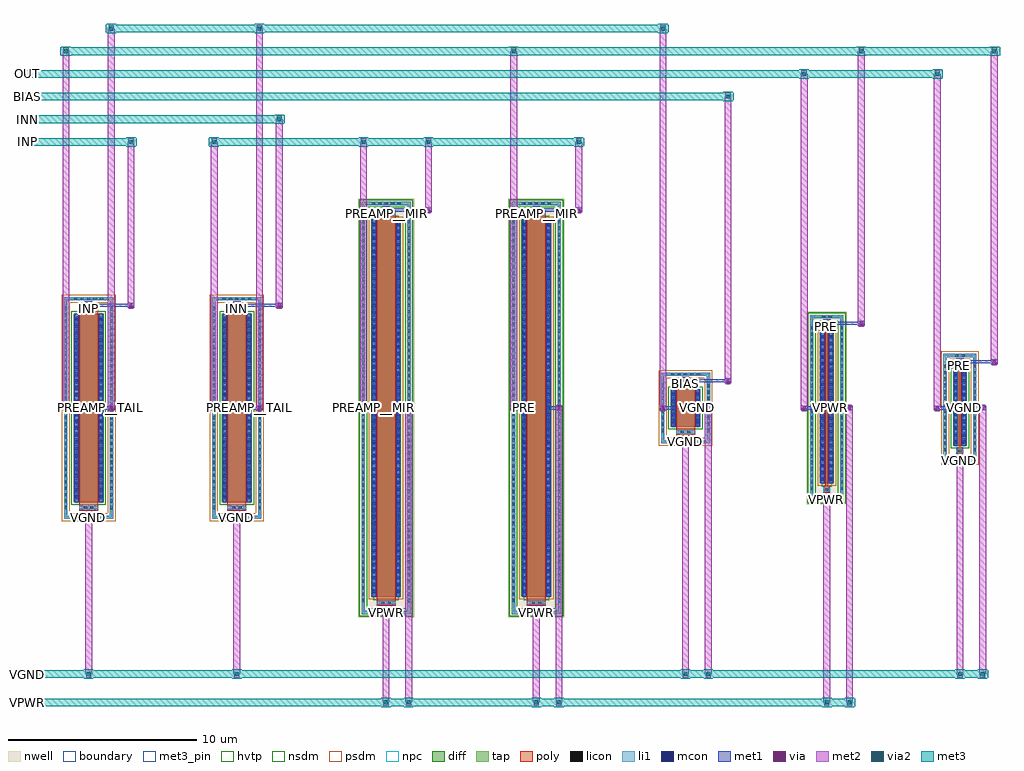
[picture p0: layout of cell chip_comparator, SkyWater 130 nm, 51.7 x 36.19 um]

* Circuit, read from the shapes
.subckt chip_comparator BIAS INN INP OUT PRE PREAMP__MIR PREAMP__TAIL VGND VPWR
XM1 PREAMP__TAIL INP PRE VGND sky130_fd_pr__nfet_01v8 w=10 l=1
XM2 PREAMP__TAIL INN PREAMP__MIR VGND sky130_fd_pr__nfet_01v8 w=10 l=1
XM3 VGND BIAS PREAMP__TAIL VGND sky130_fd_pr__nfet_01v8 w=2 l=1
XM4 VGND PRE OUT VGND sky130_fd_pr__nfet_01v8 w=4 l=0.15
XM5 VPWR PREAMP__MIR PREAMP__MIR VPWR sky130_fd_pr__pfet_01v8_hvt w=20 l=1
XM6 VPWR PREAMP__MIR PRE VPWR sky130_fd_pr__pfet_01v8_hvt w=20 l=1
XM7 VPWR PRE OUT VPWR sky130_fd_pr__pfet_01v8_hvt w=8 l=0.15
.ends

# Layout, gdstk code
import gdstk
lib = gdstk.Library(unit=1e-6, precision=1e-09)
def R(c, l, rs):  # rectangles x0, y0, x1, y1
    for r in rs: c.add(gdstk.rectangle(r[:2], r[2:], *l))
def A(c, l, x, y, w, h, nx, ny, dx, dy):  # array of equal rectangles
    R(c, l, [(x+i*dx, y+j*dy, x+i*dx+w, y+j*dy+h) for i in range(nx) for j in range(ny)])
nwell = (64, 20)
diff = (65, 20)
tap = (65, 44)
poly = (66, 20)
licon = (66, 44)
li1 = (67, 20)
mcon = (67, 44)
met1 = (68, 20)
via = (68, 44)
met2 = (69, 20)
via2 = (69, 44)
met3_pin = (70, 16)
met3 = (70, 20)
hvtp = (78, 44)
nsdm = (93, 44)
psdm = (94, 20)
npc = (95, 20)
boundary = (235, 4)

chip_comparator = lib.new_cell('chip_comparator')
R(chip_comparator, nwell, [(15.7,-11.095,18.66,11.095), (23.66,-11.095,26.62,11.095), (39.47,-5.095,41.58,5.095)])
R(chip_comparator, diff, [(16.39,-10,17.97,10), (24.35,-10,25.93,10), (0.635,-5,2.215,5), (8.485,-5,10.065,5), (40.16,-4,40.89,4), (47.215,-2,47.945,2), (32.255,-1,33.835,1)])
R(chip_comparator, tap, [(15.88,-10.915,18.48,-10.745), (23.84,-10.915,26.44,-10.745), (15.88,-10.745,16.05,10.745), (18.31,-10.745,18.48,10.745), (23.84,-10.745,24.01,10.745), (26.27,-10.745,26.44,10.745), (0.125,-5.87,2.725,-5.7), (7.975,-5.87,10.575,-5.7), (0.125,-5.7,0.295,5.7), (2.555,-5.7,2.725,5.7), (7.975,-5.7,8.145,5.7), (10.405,-5.7,10.575,5.7), (39.65,-4.915,41.4,-4.745), (39.65,-4.745,39.82,4.745), (41.23,-4.745,41.4,4.745), (46.705,-2.87,48.455,-2.7), (46.705,-2.7,46.875,2.7), (48.285,-2.7,48.455,2.7), (31.745,-1.87,34.345,-1.7), (31.745,-1.7,31.915,1.7), (34.175,-1.7,34.345,1.7), (31.745,1.7,34.345,1.87), (46.705,2.7,48.455,2.87), (39.65,4.745,41.4,4.915), (0.125,5.7,2.725,5.87), (7.975,5.7,10.575,5.87), (15.88,10.745,18.48,10.915), (23.84,10.745,26.44,10.915)])
R(chip_comparator, poly, [(16.68,-10.485,17.68,10.485), (24.64,-10.485,25.64,10.485), (0.925,-5.44,1.925,5.44), (8.775,-5.44,9.775,5.44), (40.36,-4.485,40.69,-4.155), (40.45,-4.155,40.6,4.155), (47.415,-2.44,47.745,-2.11), (47.505,-2.11,47.655,2.11), (32.545,-1.44,33.545,1.44), (47.415,2.11,47.745,2.44), (40.36,4.155,40.69,4.485)])
A(chip_comparator, licon, 16.415, -10.915, 0.17, 0.17, 5, 2, 0.34, 21.66)
A(chip_comparator, licon, 24.375, -10.915, 0.17, 0.17, 5, 2, 0.34, 21.66)
A(chip_comparator, licon, 15.88, -10.285, 0.17, 0.17, 1, 61, 0, 0.34)
A(chip_comparator, licon, 18.31, -10.285, 0.17, 0.17, 1, 61, 0, 0.34)
A(chip_comparator, licon, 23.84, -10.285, 0.17, 0.17, 1, 61, 0, 0.34)
A(chip_comparator, licon, 26.27, -10.285, 0.17, 0.17, 1, 61, 0, 0.34)
A(chip_comparator, licon, 16.45, -9.775, 0.17, 0.17, 1, 58, 0, 0.34)
A(chip_comparator, licon, 17.74, -9.775, 0.17, 0.17, 1, 58, 0, 0.34)
A(chip_comparator, licon, 24.41, -9.775, 0.17, 0.17, 1, 58, 0, 0.34)
A(chip_comparator, licon, 25.7, -9.775, 0.17, 0.17, 1, 58, 0, 0.34)
A(chip_comparator, licon, 0.66, -5.87, 0.17, 0.17, 5, 2, 0.34, 11.57)
A(chip_comparator, licon, 8.51, -5.87, 0.17, 0.17, 5, 2, 0.34, 11.57)
A(chip_comparator, licon, 0.125, -5.355, 0.17, 0.17, 1, 32, 0, 0.34)
A(chip_comparator, licon, 2.555, -5.355, 0.17, 0.17, 1, 32, 0, 0.34)
A(chip_comparator, licon, 7.975, -5.355, 0.17, 0.17, 1, 32, 0, 0.34)
A(chip_comparator, licon, 10.405, -5.355, 0.17, 0.17, 1, 32, 0, 0.34)
A(chip_comparator, licon, 0.695, -4.845, 0.17, 0.17, 1, 29, 0, 0.34)
A(chip_comparator, licon, 1.985, -4.845, 0.17, 0.17, 1, 29, 0, 0.34)
A(chip_comparator, licon, 8.545, -4.845, 0.17, 0.17, 1, 29, 0, 0.34)
A(chip_comparator, licon, 9.835, -4.845, 0.17, 0.17, 1, 29, 0, 0.34)
A(chip_comparator, licon, 39.65, -4.335, 0.17, 0.17, 1, 26, 0, 0.34)
A(chip_comparator, licon, 41.23, -4.335, 0.17, 0.17, 1, 26, 0, 0.34)
A(chip_comparator, licon, 40.22, -3.825, 0.17, 0.17, 1, 23, 0, 0.34)
A(chip_comparator, licon, 40.66, -3.825, 0.17, 0.17, 1, 23, 0, 0.34)
A(chip_comparator, licon, 46.705, -2.295, 0.17, 0.17, 1, 14, 0, 0.34)
A(chip_comparator, licon, 48.285, -2.295, 0.17, 0.17, 1, 14, 0, 0.34)
A(chip_comparator, licon, 32.28, -1.87, 0.17, 0.17, 5, 2, 0.34, 3.57)
A(chip_comparator, licon, 47.275, -1.785, 0.17, 0.17, 1, 11, 0, 0.34)
A(chip_comparator, licon, 47.715, -1.785, 0.17, 0.17, 1, 11, 0, 0.34)
A(chip_comparator, licon, 31.745, -1.275, 0.17, 0.17, 1, 8, 0, 0.34)
A(chip_comparator, licon, 34.175, -1.275, 0.17, 0.17, 1, 8, 0, 0.34)
A(chip_comparator, licon, 32.315, -0.935, 0.17, 0.17, 1, 6, 0, 0.34)
A(chip_comparator, licon, 33.605, -0.935, 0.17, 0.17, 1, 6, 0, 0.34)
R(chip_comparator, licon, [(16.925,-10.405,17.095,-10.235), (17.265,-10.405,17.435,-10.235), (24.885,-10.405,25.055,-10.235), (25.225,-10.405,25.395,-10.235), (1.17,-5.36,1.34,-5.19), (1.51,-5.36,1.68,-5.19), (9.02,-5.36,9.19,-5.19), (9.36,-5.36,9.53,-5.19), (40.27,-4.915,40.44,-4.745), (40.61,-4.915,40.78,-4.745), (40.44,-4.405,40.61,-4.235), (47.325,-2.87,47.495,-2.7), (47.665,-2.87,47.835,-2.7), (47.495,-2.36,47.665,-2.19), (32.79,-1.36,32.96,-1.19), (33.13,-1.36,33.3,-1.19), (32.79,1.19,32.96,1.36), (33.13,1.19,33.3,1.36), (47.495,2.19,47.665,2.36), (47.325,2.7,47.495,2.87), (47.665,2.7,47.835,2.87), (40.44,4.235,40.61,4.405), (40.27,4.745,40.44,4.915), (40.61,4.745,40.78,4.915), (1.17,5.19,1.34,5.36), (1.51,5.19,1.68,5.36), (9.02,5.19,9.19,5.36), (9.36,5.19,9.53,5.36), (16.925,10.235,17.095,10.405), (17.265,10.235,17.435,10.405), (24.885,10.235,25.055,10.405), (25.225,10.235,25.395,10.405)])
R(chip_comparator, li1, [(15.88,-10.915,18.48,-10.745), (23.84,-10.915,26.44,-10.745), (15.88,-10.745,16.05,10.745), (18.31,-10.745,18.48,10.745), (23.84,-10.745,24.01,10.745), (26.27,-10.745,26.44,10.745), (16.68,-10.405,17.68,-10.235), (24.64,-10.405,25.64,-10.235), (16.45,-10.02,16.62,10.02), (17.74,-10.02,17.91,10.02), (24.41,-10.02,24.58,10.02), (25.7,-10.02,25.87,10.02), (0.125,-5.87,2.725,-5.7), (7.975,-5.87,10.575,-5.7), (0.125,-5.7,0.295,5.7), (2.555,-5.7,2.725,5.7), (7.975,-5.7,8.145,5.7), (10.405,-5.7,10.575,5.7), (0.925,-5.36,1.925,-5.19), (8.775,-5.36,9.775,-5.19), (0.695,-5.02,0.865,5.02), (1.985,-5.02,2.155,5.02), (8.545,-5.02,8.715,5.02), (9.835,-5.02,10.005,5.02), (39.65,-4.915,41.4,-4.745), (39.65,-4.745,39.82,4.745), (41.23,-4.745,41.4,4.745), (40.36,-4.405,40.69,-4.235), (40.22,-4.02,40.39,4.02), (40.66,-4.02,40.83,4.02), (46.705,-2.87,48.455,-2.7), (46.705,-2.7,46.875,2.7), (48.285,-2.7,48.455,2.7), (47.415,-2.36,47.745,-2.19), (47.275,-2.02,47.445,2.02), (47.715,-2.02,47.885,2.02), (31.745,-1.87,34.345,-1.7), (31.745,-1.7,31.915,1.7), (34.175,-1.7,34.345,1.7), (32.545,-1.36,33.545,-1.19), (32.315,-1.02,32.485,1.02), (33.605,-1.02,33.775,1.02), (32.545,1.19,33.545,1.36), (32.96,1.19,33.13,1.53), (31.745,1.7,34.345,1.87), (47.415,2.19,47.745,2.36), (47.495,2.19,47.665,2.53), (46.705,2.7,48.455,2.87), (40.36,4.235,40.69,4.405), (40.44,4.235,40.61,4.575), (39.65,4.745,41.4,4.915), (0.925,5.19,1.925,5.36), (1.34,5.19,1.51,5.53), (8.775,5.19,9.775,5.36), (9.19,5.19,9.36,5.53), (0.125,5.7,2.725,5.87), (7.975,5.7,10.575,5.87), (16.68,10.235,17.68,10.405), (17.095,10.235,17.265,10.575), (24.64,10.235,25.64,10.405), (25.055,10.235,25.225,10.575), (15.88,10.745,18.48,10.915), (23.84,10.745,26.44,10.915)])
A(chip_comparator, mcon, 16.45, -9.805, 0.17, 0.17, 1, 55, 0, 0.36)
A(chip_comparator, mcon, 17.74, -9.805, 0.17, 0.17, 1, 55, 0, 0.36)
A(chip_comparator, mcon, 24.41, -9.805, 0.17, 0.17, 1, 55, 0, 0.36)
A(chip_comparator, mcon, 25.7, -9.805, 0.17, 0.17, 1, 55, 0, 0.36)
A(chip_comparator, mcon, 0.695, -4.765, 0.17, 0.17, 1, 27, 0, 0.36)
A(chip_comparator, mcon, 1.985, -4.765, 0.17, 0.17, 1, 27, 0, 0.36)
A(chip_comparator, mcon, 8.545, -4.765, 0.17, 0.17, 1, 27, 0, 0.36)
A(chip_comparator, mcon, 9.835, -4.765, 0.17, 0.17, 1, 27, 0, 0.36)
A(chip_comparator, mcon, 40.22, -3.865, 0.17, 0.17, 1, 22, 0, 0.36)
A(chip_comparator, mcon, 40.66, -3.865, 0.17, 0.17, 1, 22, 0, 0.36)
A(chip_comparator, mcon, 47.275, -1.885, 0.17, 0.17, 1, 11, 0, 0.36)
A(chip_comparator, mcon, 47.715, -1.885, 0.17, 0.17, 1, 11, 0, 0.36)
A(chip_comparator, mcon, 32.315, -0.805, 0.17, 0.17, 1, 5, 0, 0.36)
A(chip_comparator, mcon, 33.605, -0.805, 0.17, 0.17, 1, 5, 0, 0.36)
R(chip_comparator, mcon, [(17.095,-10.915,17.265,-10.745), (25.055,-10.915,25.225,-10.745), (1.34,-5.87,1.51,-5.7), (9.19,-5.87,9.36,-5.7), (40.44,-4.915,40.61,-4.745), (47.495,-2.87,47.665,-2.7), (32.96,-1.87,33.13,-1.7), (32.96,1.36,33.13,1.53), (47.495,2.36,47.665,2.53), (40.44,4.405,40.61,4.575), (1.34,5.36,1.51,5.53), (9.19,5.36,9.36,5.53), (17.095,10.405,17.265,10.575), (25.055,10.405,25.225,10.575)])
R(chip_comparator, met1, [(16.98,-11.03,17.38,-10.63), (24.94,-11.03,25.34,-10.63), (17,-10.96,17.36,-10.7), (24.96,-10.96,25.32,-10.7), (16.42,-10,16.65,10), (17.71,-10,17.94,10), (24.38,-10,24.61,10), (25.67,-10,25.9,10), (1.225,-5.985,1.625,-5.585), (9.075,-5.985,9.475,-5.585), (1.245,-5.915,1.605,-5.655), (9.095,-5.915,9.455,-5.655), (40.325,-5.03,40.725,-4.63), (0.665,-5,0.895,5), (1.955,-5,2.185,5), (8.515,-5,8.745,5), (9.805,-5,10.035,5), (40.345,-4.96,40.705,-4.7), (40.19,-4,40.42,4), (40.63,-4,40.86,4), (47.38,-2.985,47.78,-2.585), (47.4,-2.915,47.76,-2.655), (47.245,-2,47.475,2), (47.685,-2,47.915,2), (32.845,-1.985,33.245,-1.585), (32.865,-1.915,33.225,-1.655), (32.285,-1,32.515,1), (33.575,-1,33.805,1), (0.045,-0.13,0.405,0.13), (2.445,-0.13,2.805,0.13), (7.895,-0.13,8.255,0.13), (10.295,-0.13,10.655,0.13), (15.8,-0.13,16.16,0.13), (18.2,-0.13,18.56,0.13), (23.76,-0.13,24.12,0.13), (26.16,-0.13,26.52,0.13), (31.665,-0.13,32.025,0.13), (34.065,-0.13,34.425,0.13), (39.145,-0.13,39.505,0.13), (41.545,-0.13,41.905,0.13), (46.2,-0.13,46.56,0.13), (48.6,-0.13,48.96,0.13), (32.845,1.245,33.245,1.645), (35.11,1.315,35.47,1.575), (47.38,2.245,47.78,2.645), (49.22,2.315,49.58,2.575), (40.325,4.29,40.725,4.69), (42.165,4.36,42.525,4.62), (1.225,5.245,1.625,5.645), (9.075,5.245,9.475,5.645), (3.49,5.315,3.85,5.575), (11.34,5.315,11.7,5.575), (16.98,10.29,17.38,10.69), (24.94,10.29,25.34,10.69), (19.245,10.36,19.605,10.62), (27.205,10.36,27.565,10.62)])
R(chip_comparator, via, [(17.105,-10.905,17.255,-10.755), (25.065,-10.905,25.215,-10.755), (1.35,-5.86,1.5,-5.71), (9.2,-5.86,9.35,-5.71), (40.45,-4.905,40.6,-4.755), (47.505,-2.86,47.655,-2.71), (32.97,-1.86,33.12,-1.71), (0.15,-0.075,0.3,0.075), (2.55,-0.075,2.7,0.075), (8,-0.075,8.15,0.075), (10.4,-0.075,10.55,0.075), (15.905,-0.075,16.055,0.075), (18.305,-0.075,18.455,0.075), (23.865,-0.075,24.015,0.075), (26.265,-0.075,26.415,0.075), (31.77,-0.075,31.92,0.075), (34.17,-0.075,34.32,0.075), (39.25,-0.075,39.4,0.075), (41.65,-0.075,41.8,0.075), (46.305,-0.075,46.455,0.075), (48.705,-0.075,48.855,0.075), (35.215,1.37,35.365,1.52), (49.325,2.37,49.475,2.52), (42.27,4.415,42.42,4.565), (3.595,5.37,3.745,5.52), (11.445,5.37,11.595,5.52), (19.35,10.415,19.5,10.565), (27.31,10.415,27.46,10.565)])
R(chip_comparator, met2, [(17.04,-15.785,17.32,-15.405), (18.24,-15.785,18.52,-15.405), (25,-15.785,25.28,-15.405), (26.2,-15.785,26.48,-15.405), (40.385,-15.785,40.665,-15.405), (41.585,-15.785,41.865,-15.405), (1.285,-14.285,1.565,-13.905), (9.135,-14.285,9.415,-13.905), (32.905,-14.285,33.185,-13.905), (34.105,-14.285,34.385,-13.905), (47.44,-14.285,47.72,-13.905), (48.64,-14.285,48.92,-13.905), (17.05,-11.01,17.31,-10.65), (25.01,-11.01,25.27,-10.65), (1.295,-5.965,1.555,-5.605), (9.145,-5.965,9.405,-5.605), (40.395,-5.01,40.655,-4.65), (47.45,-2.965,47.71,-2.605), (32.915,-1.965,33.175,-1.605), (0.095,-0.18,0.355,0.18), (2.495,-0.18,2.755,0.18), (7.945,-0.18,8.205,0.18), (10.345,-0.18,10.605,0.18), (15.85,-0.18,16.11,0.18), (18.25,-0.18,18.51,0.18), (23.81,-0.18,24.07,0.18), (26.21,-0.18,26.47,0.18), (31.715,-0.18,31.975,0.18), (34.115,-0.18,34.375,0.18), (39.195,-0.18,39.455,0.18), (41.595,-0.18,41.855,0.18), (46.25,-0.18,46.51,0.18), (48.65,-0.18,48.91,0.18), (35.16,1.265,35.42,1.625), (49.27,2.265,49.53,2.625), (42.215,4.31,42.475,4.67), (3.54,5.265,3.8,5.625), (11.39,5.265,11.65,5.625), (19.295,10.31,19.555,10.67), (27.255,10.31,27.515,10.67), (3.53,13.905,3.81,14.285), (7.935,13.905,8.215,14.285), (15.84,13.905,16.12,14.285), (19.285,13.905,19.565,14.285), (27.245,13.905,27.525,14.285), (11.38,15.105,11.66,15.485), (35.15,16.305,35.43,16.685), (39.185,17.505,39.465,17.885), (46.24,17.505,46.52,17.885), (0.085,18.705,0.365,19.085), (23.8,18.705,24.08,19.085), (42.205,18.705,42.485,19.085), (49.26,18.705,49.54,19.085), (2.485,19.905,2.765,20.285), (10.335,19.905,10.615,20.285), (31.705,19.905,31.985,20.285)])
R(chip_comparator, via2, [(17.08,-15.695,17.28,-15.495), (18.28,-15.695,18.48,-15.495), (25.04,-15.695,25.24,-15.495), (26.24,-15.695,26.44,-15.495), (40.425,-15.695,40.625,-15.495), (41.625,-15.695,41.825,-15.495), (1.325,-14.195,1.525,-13.995), (9.175,-14.195,9.375,-13.995), (32.945,-14.195,33.145,-13.995), (34.145,-14.195,34.345,-13.995), (47.48,-14.195,47.68,-13.995), (48.68,-14.195,48.88,-13.995), (3.57,13.995,3.77,14.195), (7.975,13.995,8.175,14.195), (15.88,13.995,16.08,14.195), (19.325,13.995,19.525,14.195), (27.285,13.995,27.485,14.195), (11.42,15.195,11.62,15.395), (35.19,16.395,35.39,16.595), (39.225,17.595,39.425,17.795), (46.28,17.595,46.48,17.795), (0.125,18.795,0.325,18.995), (23.84,18.795,24.04,18.995), (42.245,18.795,42.445,18.995), (49.3,18.795,49.5,18.995), (2.525,19.995,2.725,20.195), (10.375,19.995,10.575,20.195), (31.745,19.995,31.945,20.195)])
A(chip_comparator, met3_pin, -2, 13.895, 0.4, 0.4, 1, 4, 0, 1.2)
R(chip_comparator, met3_pin, [(-2,-15.795,-1.6,-15.395), (-2,-14.295,-1.6,-13.895)])
R(chip_comparator, met3, [(16.93,-15.845,17.43,-15.345), (18.13,-15.845,18.63,-15.345), (24.89,-15.845,25.39,-15.345), (26.09,-15.845,26.59,-15.345), (40.275,-15.845,40.775,-15.345), (41.475,-15.845,41.975,-15.345), (1.175,-14.345,1.675,-13.845), (9.025,-14.345,9.525,-13.845), (32.795,-14.345,33.295,-13.845), (33.995,-14.345,34.495,-13.845), (47.33,-14.345,47.83,-13.845), (48.53,-14.345,49.03,-13.845), (3.42,13.845,3.92,14.345), (7.825,13.845,8.325,14.345), (15.73,13.845,16.23,14.345), (19.175,13.845,19.675,14.345), (27.135,13.845,27.635,14.345), (11.27,15.045,11.77,15.545), (35.04,16.245,35.54,16.745), (39.075,17.445,39.575,17.945), (46.13,17.445,46.63,17.945), (-0.025,18.645,0.475,19.145), (23.69,18.645,24.19,19.145), (42.095,18.645,42.595,19.145), (49.15,18.645,49.65,19.145), (2.375,19.845,2.875,20.345), (10.225,19.845,10.725,20.345), (31.595,19.845,32.095,20.345)])
R(chip_comparator, hvtp, [(16.5,-10.18,17.86,10.18), (24.46,-10.18,25.82,10.18), (40.27,-4.18,40.78,4.18)])
R(chip_comparator, nsdm, [(15.755,-11.04,18.605,-10.62), (23.715,-11.04,26.565,-10.62), (15.755,-10.62,16.175,10.62), (18.185,-10.62,18.605,10.62), (23.715,-10.62,24.135,10.62), (26.145,-10.62,26.565,10.62), (0.51,-5.125,2.34,5.125), (8.36,-5.125,10.19,5.125), (39.525,-5.04,41.525,-4.62), (39.525,-4.62,39.945,4.62), (41.105,-4.62,41.525,4.62), (47.09,-2.125,48.07,2.125), (32.13,-1.125,33.96,1.125), (39.525,4.62,41.525,5.04), (15.755,10.62,18.605,11.04), (23.715,10.62,26.565,11.04)])
R(chip_comparator, psdm, [(16.265,-10.125,18.095,10.125), (24.225,-10.125,26.055,10.125), (0,-5.995,2.85,-5.575), (7.85,-5.995,10.7,-5.575), (0,-5.575,0.42,5.575), (2.43,-5.575,2.85,5.575), (7.85,-5.575,8.27,5.575), (10.28,-5.575,10.7,5.575), (40.035,-4.125,41.015,4.125), (46.58,-2.995,48.58,-2.575), (46.58,-2.575,47,2.575), (48.16,-2.575,48.58,2.575), (31.62,-1.995,34.47,-1.575), (31.62,-1.575,32.04,1.575), (34.05,-1.575,34.47,1.575), (31.62,1.575,34.47,1.995), (46.58,2.575,48.58,2.995), (0,5.575,2.85,5.995), (7.85,5.575,10.7,5.995)])
R(chip_comparator, npc, [(16.825,-10.505,17.535,-10.135), (24.785,-10.505,25.495,-10.135), (1.07,-5.46,1.78,-5.09), (8.92,-5.46,9.63,-5.09), (40.34,-4.505,40.71,-4.135), (47.395,-2.46,47.765,-2.09), (32.69,-1.46,33.4,-1.09), (32.69,1.09,33.4,1.46), (47.395,2.09,47.765,2.46), (40.34,4.135,40.71,4.505), (1.07,5.09,1.78,5.46), (8.92,5.09,9.63,5.46), (16.825,10.135,17.535,10.505), (24.785,10.135,25.495,10.505)])
R(chip_comparator, boundary, [(15.965,-10.83,18.395,10.83), (23.925,-10.83,26.355,10.83), (0.21,-5.785,2.64,5.785), (8.06,-5.785,10.49,5.785), (39.735,-4.83,41.315,4.83), (46.79,-2.785,48.37,2.785), (31.83,-1.785,34.26,1.785)])
chip_comparator.add(gdstk.FlexPath([(47.58,-2.785),(47.58,-2.785)], 0.17, ends="flush", simple_path=True, layer=68, datatype=20))  # met1
chip_comparator.add(gdstk.FlexPath([(47.8,0),(48.78,0)], 0.17, ends="flush", simple_path=True, layer=68, datatype=20))  # met1
chip_comparator.add(gdstk.FlexPath([(40.745,0),(41.725,0)], 0.17, ends="flush", simple_path=True, layer=68, datatype=20))  # met1
chip_comparator.add(gdstk.FlexPath([(47.58,2.445),(49.4,2.445)], 0.17, ends="flush", simple_path=True, layer=68, datatype=20))  # met1
chip_comparator.add(gdstk.FlexPath([(40.305,0),(39.325,0)], 0.17, ends="flush", simple_path=True, layer=68, datatype=20))  # met1
chip_comparator.add(gdstk.FlexPath([(33.045,-1.785),(33.045,-1.785)], 0.17, ends="flush", simple_path=True, layer=68, datatype=20))  # met1
chip_comparator.add(gdstk.FlexPath([(33.045,1.445),(35.29,1.445)], 0.17, ends="flush", simple_path=True, layer=68, datatype=20))  # met1
chip_comparator.add(gdstk.FlexPath([(25.785,0),(26.34,0)], 0.17, ends="flush", simple_path=True, layer=68, datatype=20))  # met1
chip_comparator.add(gdstk.FlexPath([(47.36,0),(46.38,0)], 0.17, ends="flush", simple_path=True, layer=68, datatype=20))  # met1
chip_comparator.add(gdstk.FlexPath([(25.14,-10.83),(25.14,-10.83)], 0.17, ends="flush", simple_path=True, layer=68, datatype=20))  # met1
chip_comparator.add(gdstk.FlexPath([(0.78,0),(0.225,0)], 0.17, ends="flush", simple_path=True, layer=68, datatype=20))  # met1
chip_comparator.add(gdstk.FlexPath([(40.525,-4.83),(40.525,-4.83)], 0.17, ends="flush", simple_path=True, layer=68, datatype=20))  # met1
chip_comparator.add(gdstk.FlexPath([(2.07,0),(2.625,0)], 0.17, ends="flush", simple_path=True, layer=68, datatype=20))  # met1
chip_comparator.add(gdstk.FlexPath([(9.275,5.445),(11.52,5.445)], 0.17, ends="flush", simple_path=True, layer=68, datatype=20))  # met1
chip_comparator.add(gdstk.FlexPath([(17.18,10.49),(19.425,10.49)], 0.17, ends="flush", simple_path=True, layer=68, datatype=20))  # met1
chip_comparator.add(gdstk.FlexPath([(1.425,5.445),(3.67,5.445)], 0.17, ends="flush", simple_path=True, layer=68, datatype=20))  # met1
chip_comparator.add(gdstk.FlexPath([(32.4,0),(31.845,0)], 0.17, ends="flush", simple_path=True, layer=68, datatype=20))  # met1
chip_comparator.add(gdstk.FlexPath([(9.275,-5.785),(9.275,-5.785)], 0.17, ends="flush", simple_path=True, layer=68, datatype=20))  # met1
chip_comparator.add(gdstk.FlexPath([(24.495,0),(23.94,0)], 0.17, ends="flush", simple_path=True, layer=68, datatype=20))  # met1
chip_comparator.add(gdstk.FlexPath([(25.14,10.49),(27.385,10.49)], 0.17, ends="flush", simple_path=True, layer=68, datatype=20))  # met1
chip_comparator.add(gdstk.FlexPath([(1.425,-5.785),(1.425,-5.785)], 0.17, ends="flush", simple_path=True, layer=68, datatype=20))  # met1
chip_comparator.add(gdstk.FlexPath([(8.63,0),(8.075,0)], 0.17, ends="flush", simple_path=True, layer=68, datatype=20))  # met1
chip_comparator.add(gdstk.FlexPath([(9.92,0),(10.475,0)], 0.17, ends="flush", simple_path=True, layer=68, datatype=20))  # met1
chip_comparator.add(gdstk.FlexPath([(16.535,0),(15.98,0)], 0.17, ends="flush", simple_path=True, layer=68, datatype=20))  # met1
chip_comparator.add(gdstk.FlexPath([(17.825,0),(18.38,0)], 0.17, ends="flush", simple_path=True, layer=68, datatype=20))  # met1
chip_comparator.add(gdstk.FlexPath([(40.525,4.49),(42.345,4.49)], 0.17, ends="flush", simple_path=True, layer=68, datatype=20))  # met1
chip_comparator.add(gdstk.FlexPath([(33.69,0),(34.245,0)], 0.17, ends="flush", simple_path=True, layer=68, datatype=20))  # met1
chip_comparator.add(gdstk.FlexPath([(17.18,-10.83),(17.18,-10.83)], 0.17, ends="flush", simple_path=True, layer=68, datatype=20))  # met1
chip_comparator.add(gdstk.FlexPath([(48.78,0),(48.78,-14.095)], 0.36, ends="flush", simple_path=True, layer=69, datatype=20))  # met2
chip_comparator.add(gdstk.FlexPath([(49.4,2.445),(49.4,18.895)], 0.36, ends="flush", simple_path=True, layer=69, datatype=20))  # met2
chip_comparator.add(gdstk.FlexPath([(40.525,-4.83),(40.525,-15.595)], 0.36, ends="flush", simple_path=True, layer=69, datatype=20))  # met2
chip_comparator.add(gdstk.FlexPath([(33.045,-1.785),(33.045,-14.095)], 0.36, ends="flush", simple_path=True, layer=69, datatype=20))  # met2
chip_comparator.add(gdstk.FlexPath([(34.245,0),(34.245,-14.095)], 0.36, ends="flush", simple_path=True, layer=69, datatype=20))  # met2
chip_comparator.add(gdstk.FlexPath([(46.38,0),(46.38,17.695)], 0.36, ends="flush", simple_path=True, layer=69, datatype=20))  # met2
chip_comparator.add(gdstk.FlexPath([(35.29,1.445),(35.29,16.495)], 0.36, ends="flush", simple_path=True, layer=69, datatype=20))  # met2
chip_comparator.add(gdstk.FlexPath([(39.325,0),(39.325,17.695)], 0.36, ends="flush", simple_path=True, layer=69, datatype=20))  # met2
chip_comparator.add(gdstk.FlexPath([(27.385,10.49),(27.385,14.095)], 0.36, ends="flush", simple_path=True, layer=69, datatype=20))  # met2
chip_comparator.add(gdstk.FlexPath([(0.225,0),(0.225,18.895)], 0.36, ends="flush", simple_path=True, layer=69, datatype=20))  # met2
chip_comparator.add(gdstk.FlexPath([(26.34,0),(26.34,-15.595)], 0.36, ends="flush", simple_path=True, layer=69, datatype=20))  # met2
chip_comparator.add(gdstk.FlexPath([(3.67,5.445),(3.67,14.095)], 0.36, ends="flush", simple_path=True, layer=69, datatype=20))  # met2
chip_comparator.add(gdstk.FlexPath([(25.14,-10.83),(25.14,-15.595)], 0.36, ends="flush", simple_path=True, layer=69, datatype=20))  # met2
chip_comparator.add(gdstk.FlexPath([(2.625,0),(2.625,20.095)], 0.36, ends="flush", simple_path=True, layer=69, datatype=20))  # met2
chip_comparator.add(gdstk.FlexPath([(10.475,0),(10.475,20.095)], 0.36, ends="flush", simple_path=True, layer=69, datatype=20))  # met2
chip_comparator.add(gdstk.FlexPath([(1.425,-5.785),(1.425,-14.095)], 0.36, ends="flush", simple_path=True, layer=69, datatype=20))  # met2
chip_comparator.add(gdstk.FlexPath([(9.275,-5.785),(9.275,-14.095)], 0.36, ends="flush", simple_path=True, layer=69, datatype=20))  # met2
chip_comparator.add(gdstk.FlexPath([(47.58,-2.785),(47.58,-14.095)], 0.36, ends="flush", simple_path=True, layer=69, datatype=20))  # met2
chip_comparator.add(gdstk.FlexPath([(11.52,5.445),(11.52,15.295)], 0.36, ends="flush", simple_path=True, layer=69, datatype=20))  # met2
chip_comparator.add(gdstk.FlexPath([(41.725,0),(41.725,-15.595)], 0.36, ends="flush", simple_path=True, layer=69, datatype=20))  # met2
chip_comparator.add(gdstk.FlexPath([(42.345,4.49),(42.345,18.895)], 0.36, ends="flush", simple_path=True, layer=69, datatype=20))  # met2
chip_comparator.add(gdstk.FlexPath([(31.845,0),(31.845,20.095)], 0.36, ends="flush", simple_path=True, layer=69, datatype=20))  # met2
chip_comparator.add(gdstk.FlexPath([(19.425,10.49),(19.425,14.095)], 0.36, ends="flush", simple_path=True, layer=69, datatype=20))  # met2
chip_comparator.add(gdstk.FlexPath([(8.075,0),(8.075,14.095)], 0.36, ends="flush", simple_path=True, layer=69, datatype=20))  # met2
chip_comparator.add(gdstk.FlexPath([(15.98,0),(15.98,14.095)], 0.36, ends="flush", simple_path=True, layer=69, datatype=20))  # met2
chip_comparator.add(gdstk.FlexPath([(18.38,0),(18.38,-15.595)], 0.36, ends="flush", simple_path=True, layer=69, datatype=20))  # met2
chip_comparator.add(gdstk.FlexPath([(17.18,-10.83),(17.18,-15.595)], 0.36, ends="flush", simple_path=True, layer=69, datatype=20))  # met2
chip_comparator.add(gdstk.FlexPath([(23.94,0),(23.94,18.895)], 0.36, ends="flush", simple_path=True, layer=69, datatype=20))  # met2
chip_comparator.add(gdstk.FlexPath([(-1.8,-14.095),(49.08,-14.095)], 0.4, ends="flush", simple_path=True, layer=70, datatype=20))  # met3
chip_comparator.add(gdstk.FlexPath([(7.775,14.095),(27.685,14.095)], 0.4, ends="flush", simple_path=True, layer=70, datatype=20))  # met3
chip_comparator.add(gdstk.FlexPath([(2.325,20.095),(32.145,20.095)], 0.4, ends="flush", simple_path=True, layer=70, datatype=20))  # met3
chip_comparator.add(gdstk.FlexPath([(-0.075,18.895),(49.7,18.895)], 0.4, ends="flush", simple_path=True, layer=70, datatype=20))  # met3
chip_comparator.add(gdstk.FlexPath([(-1.8,17.695),(46.68,17.695)], 0.4, ends="flush", simple_path=True, layer=70, datatype=20))  # met3
chip_comparator.add(gdstk.FlexPath([(-1.8,-15.595),(42.025,-15.595)], 0.4, ends="flush", simple_path=True, layer=70, datatype=20))  # met3
chip_comparator.add(gdstk.FlexPath([(-1.8,16.495),(35.59,16.495)], 0.4, ends="flush", simple_path=True, layer=70, datatype=20))  # met3
chip_comparator.add(gdstk.FlexPath([(-1.8,15.295),(11.82,15.295)], 0.4, ends="flush", simple_path=True, layer=70, datatype=20))  # met3
chip_comparator.add(gdstk.FlexPath([(-1.8,14.095),(3.97,14.095)], 0.4, ends="flush", simple_path=True, layer=70, datatype=20))  # met3
chip_comparator.add(gdstk.Label('PRE', (47.58,2.275), layer=67, texttype=5))
chip_comparator.add(gdstk.Label('VGND', (47.8,0), layer=67, texttype=5))
chip_comparator.add(gdstk.Label('VGND', (47.58,-2.785), layer=67, texttype=5))
chip_comparator.add(gdstk.Label('PRE', (40.525,4.32), layer=67, texttype=5))
chip_comparator.add(gdstk.Label('VPWR', (40.745,0), layer=67, texttype=5))
chip_comparator.add(gdstk.Label('OUT', (40.305,0), layer=67, texttype=5))
chip_comparator.add(gdstk.Label('VPWR', (40.525,-4.83), layer=67, texttype=5))
chip_comparator.add(gdstk.Label('VGND', (33.69,0), layer=67, texttype=5))
chip_comparator.add(gdstk.Label('PRE', (24.495,0), layer=67, texttype=5))
chip_comparator.add(gdstk.Label('PREAMP__MIR', (25.14,10.32), layer=67, texttype=5))
chip_comparator.add(gdstk.Label('VPWR', (17.18,-10.83), layer=67, texttype=5))
chip_comparator.add(gdstk.Label('PREAMP__TAIL', (2.07,0), layer=67, texttype=5))
chip_comparator.add(gdstk.Label('VGND', (33.045,-1.785), layer=67, texttype=5))
chip_comparator.add(gdstk.Label('PRE', (0.78,0), layer=67, texttype=5))
chip_comparator.add(gdstk.Label('INP', (1.425,5.275), layer=67, texttype=5))
chip_comparator.add(gdstk.Label('OUT', (47.36,0), layer=67, texttype=5))
chip_comparator.add(gdstk.Label('PREAMP__TAIL', (32.4,0), layer=67, texttype=5))
chip_comparator.add(gdstk.Label('VGND', (1.425,-5.785), layer=67, texttype=5))
chip_comparator.add(gdstk.Label('VGND', (9.275,-5.785), layer=67, texttype=5))
chip_comparator.add(gdstk.Label('PREAMP__TAIL', (9.92,0), layer=67, texttype=5))
chip_comparator.add(gdstk.Label('VPWR', (25.785,0), layer=67, texttype=5))
chip_comparator.add(gdstk.Label('INN', (9.275,5.275), layer=67, texttype=5))
chip_comparator.add(gdstk.Label('BIAS', (33.045,1.275), layer=67, texttype=5))
chip_comparator.add(gdstk.Label('PREAMP__MIR', (16.535,0), layer=67, texttype=5))
chip_comparator.add(gdstk.Label('VPWR', (25.14,-10.83), layer=67, texttype=5))
chip_comparator.add(gdstk.Label('VPWR', (17.825,0), layer=67, texttype=5))
chip_comparator.add(gdstk.Label('PREAMP__MIR', (8.63,0), layer=67, texttype=5))
chip_comparator.add(gdstk.Label('PREAMP__MIR', (17.18,10.32), layer=67, texttype=5))
chip_comparator.add(gdstk.Label('VPWR', (-1.8,-15.595), layer=70, texttype=5))
chip_comparator.add(gdstk.Label('VGND', (-1.8,-14.095), layer=70, texttype=5))
chip_comparator.add(gdstk.Label('OUT', (-1.8,17.695), layer=70, texttype=5))
chip_comparator.add(gdstk.Label('BIAS', (-1.8,16.495), layer=70, texttype=5))
chip_comparator.add(gdstk.Label('INN', (-1.8,15.295), layer=70, texttype=5))
chip_comparator.add(gdstk.Label('INP', (-1.8,14.095), layer=70, texttype=5))

lib.write_gds('chip_comparator.gds')
